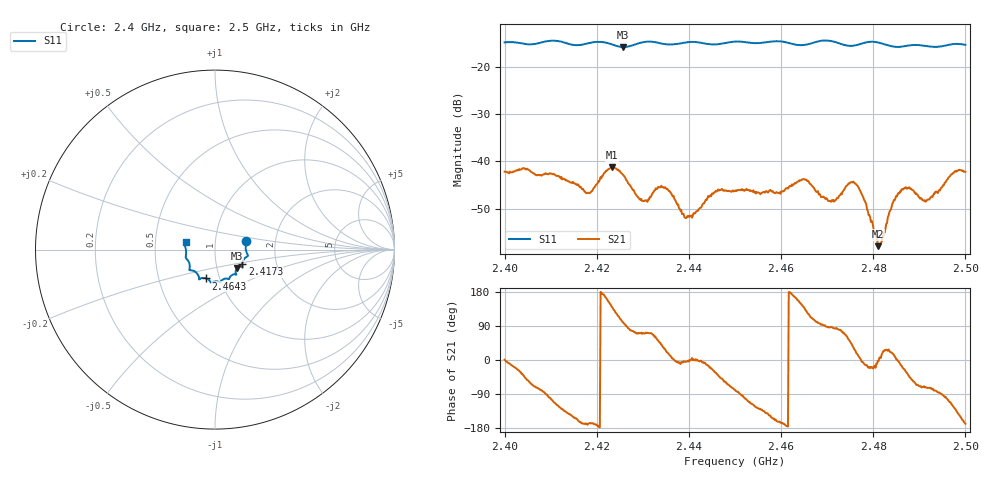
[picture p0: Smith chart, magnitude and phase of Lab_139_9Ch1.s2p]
# Hz S RI R 50
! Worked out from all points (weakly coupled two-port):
!   601 points, 2.4 GHz to 2.5 GHz, reference 50 ohm
!   highest |S21| = -41.28 dB at 2.4233 GHz (marker M1); lowest = -57.9 dB at 2.481 GHz (marker M2)
!   lowest |S11| = -15.9 dB at 2.4257 GHz (marker M3), VSWR 1.38, Z = 62.5 - j13.1 ohm
!   |S11| at or under -10 dB: start of sweep to end of sweep
!   S12 and S22 are empty: the file has one direction only
!   S11 on the Smith chart (normalised r, x): 2.4 GHz: 1.41, +0.14; 2.4173 GHz: 1.34, -0.23; 2.4643 GHz: 0.86, -0.28; 2.5 GHz: 0.72, +0.06
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2.4e9  0.1729 0.0491  0.00777 9.78e-05  0 0  0 0
2.410333e9  0.1841 -0.0347  -0.00211 -0.00705  0 0  0 0
2.416667e9  0.1524 -0.0745  -0.00507 -0.00119  0 0  0 0
2.417333e9  0.1517 -0.0818  -0.00468 -0.00101  0 0  0 0
2.423333e9  0.1432 -0.0937  -0.00653 0.00563  0 0  0 0
2.425667e9  0.1234 -0.1023  -0.00127 0.00713  0 0  0 0
2.429833e9  0.1171 -0.1361  0.00137 0.00356  0 0  0 0
2.433333e9  0.1125 -0.1377  0.00334 0.0042  0 0  0 0
2.435667e9  0.0964 -0.1411  0.00468 0.00127  0 0  0 0
2.4395e9  0.0795 -0.1615  0.00254 -0.000153  0 0  0 0
2.446e9  0.0476 -0.1646  0.00388 -0.00281  0 0  0 0
2.45e9  0.0288 -0.1811  0.000937 -0.00475  0 0  0 0
2.459333e9  -0.0232 -0.1834  -0.00444 -0.00134  0 0  0 0
2.464333e9  -0.0499 -0.1605  -0.00536 0.00332  0 0  0 0
2.466667e9  -0.0758 -0.1592  -0.00198 0.00516  0 0  0 0
2.471e9  -0.0878 -0.1631  0.000224 0.00388  0 0  0 0
2.476167e9  -0.1183 -0.1186  0.00531 0.00233  0 0  0 0
2.481e9  -0.1428 -0.1089  0.00127 -5.57e-05  0 0  0 0
2.483333e9  -0.1405 -0.0896  0.00238 0.00125  0 0  0 0
2.486667e9  -0.153 -0.0579  0.00472 -0.00212  0 0  0 0
2.491667e9  -0.1615 -0.0286  0.00112 -0.00373  0 0  0 0
2.5e9  -0.1638 0.0428  -0.00757 -0.00156  0 0  0 0
